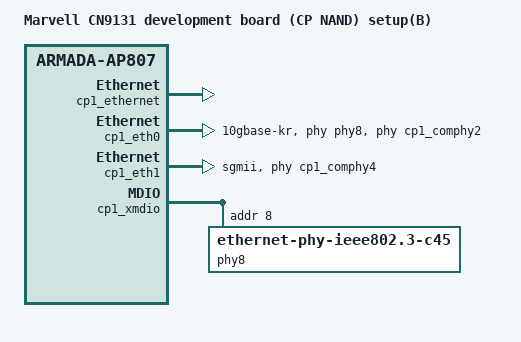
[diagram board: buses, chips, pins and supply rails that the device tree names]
/*
 * Copyright (C) 2019 Marvell International Ltd.
 *
 * SPDX-License-Identifier:    GPL-2.0
 * https://spdx.org/licenses
 */

#include "cn9130-db-B.dts"
#include "cn9131-db.dtsi"

/ {
	model = "Marvell CN9131 development board (CP NAND) setup(B)";
	compatible = "marvell,cn9131-db-B", "marvell,armada-ap807-quad",
		     "marvell,armada-ap807";
};

&cp1_ethernet {
	status = "okay";
};

/* RJ45 CON55 via 3310 */
&cp1_eth0 {
	status = "okay";
	phy-mode = "10gbase-kr";
	phy = <&phy8>;
	phys = <&cp1_comphy2 0>;
};

/* CON50 */
&cp1_eth1 {
	status = "okay";
	phy-mode = "sgmii";
	/* Generic PHY, providing serdes lanes */
	phys = <&cp1_comphy4 1>;
	managed = "in-band-status";
	sfp = <&cp1_sfp_eth1>;
};

&cp1_xmdio {
	status = "okay";
	phy8: ethernet-phy@8 {
		compatible = "ethernet-phy-ieee802.3-c45";
		reg = <8>;
	};
};
